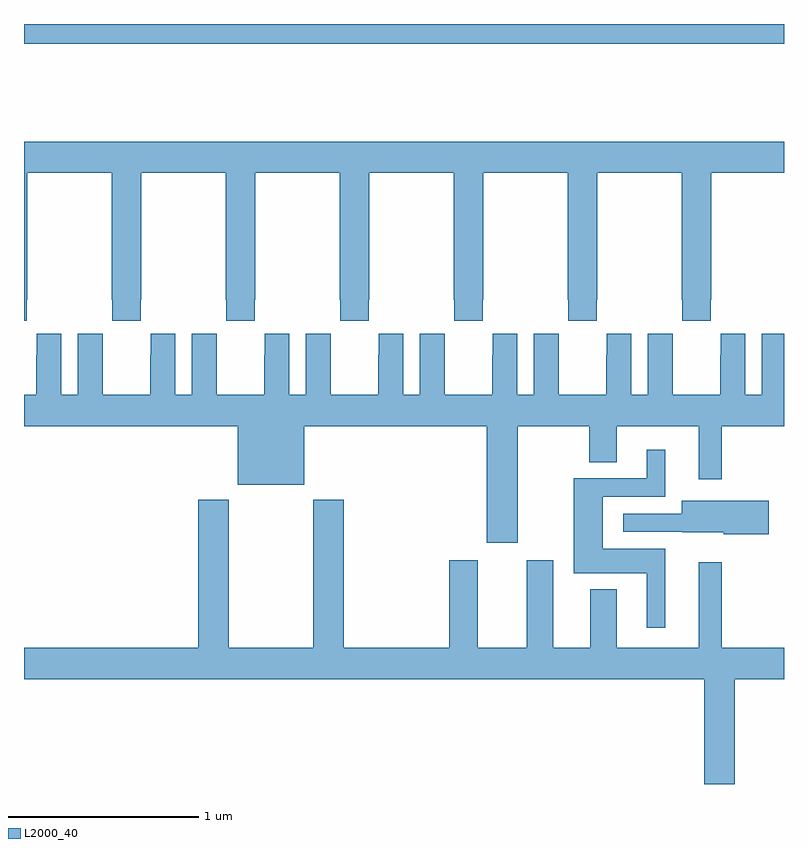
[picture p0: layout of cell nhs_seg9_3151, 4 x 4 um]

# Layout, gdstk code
import gdstk
lib = gdstk.Library(unit=1e-6, precision=1e-09)
def R(c, l, rs):  # rectangles x0, y0, x1, y1
    for r in rs: c.add(gdstk.rectangle(r[:2], r[2:], *l))
def P(c, l, *ps):  # polygons
    for p in ps: c.add(gdstk.Polygon(p, *l))
L2000_40 = (2000, 40)

nhs_seg9_3151 = lib.new_cell('nhs_seg9_3151')
R(nhs_seg9_3151, L2000_40, [(291,1234.396,295,1234.5)])
P(nhs_seg9_3151, L2000_40, [(291.015,1233.049),(291.018,1233.049),(291.018,1233.716),(291.463,1233.716),(291.463,1233.049),(291.465,1233.049),(291.465,1232.937),(291.615,1232.937),(291.615,1233.049),(291.618,1233.049),(291.618,1233.716),(292.063,1233.716),(292.063,1233.049),(292.065,1233.049),(292.065,1232.937),(292.215,1232.937),(292.215,1233.049),(292.218,1233.049),(292.218,1233.716),(292.663,1233.716),(292.663,1233.049),(292.665,1233.049),(292.665,1232.937),(292.815,1232.937),(292.815,1233.049),(292.818,1233.049),(292.818,1233.716),(293.263,1233.716),(293.263,1233.049),(293.265,1233.049),(293.265,1232.937),(293.415,1232.937),(293.415,1233.049),(293.418,1233.049),(293.418,1233.716),(293.863,1233.716),(293.863,1233.049),(293.865,1233.049),(293.865,1232.937),(294.015,1232.937),(294.015,1233.049),(294.018,1233.049),(294.018,1233.716),(294.463,1233.716),(294.463,1233.049),(294.465,1233.049),(294.465,1232.937),(294.615,1232.937),(294.615,1233.049),(294.618,1233.049),(294.618,1233.716),(295,1233.716),(295,1233.88),(291,1233.88),(291,1232.937),(291.015,1232.937)],
  [(292.124,1232.075),(292.474,1232.075),(292.474,1232.384),(293.435,1232.384),(293.435,1231.77),(293.599,1231.77),(293.599,1232.384),(293.974,1232.384),(293.974,1232.194),(294.121,1232.194),(294.121,1232.384),(294.551,1232.384),(294.551,1232.103),(294.673,1232.103),(294.673,1232.384),(295,1232.384),(295,1232.869),(294.884,1232.869),(294.884,1232.548),(294.796,1232.548),(294.796,1232.869),(294.666,1232.869),(294.666,1232.756),(294.665,1232.756),(294.665,1232.548),(294.415,1232.548),(294.415,1232.756),(294.414,1232.756),(294.414,1232.869),(294.284,1232.869),(294.284,1232.548),(294.196,1232.548),(294.196,1232.869),(294.066,1232.869),(294.066,1232.756),(294.065,1232.756),(294.065,1232.548),(293.815,1232.548),(293.815,1232.756),(293.814,1232.756),(293.814,1232.869),(293.684,1232.869),(293.684,1232.548),(293.596,1232.548),(293.596,1232.869),(293.466,1232.869),(293.466,1232.756),(293.465,1232.756),(293.465,1232.548),(293.215,1232.548),(293.215,1232.756),(293.214,1232.756),(293.214,1232.869),(293.084,1232.869),(293.084,1232.548),(292.996,1232.548),(292.996,1232.869),(292.866,1232.869),(292.866,1232.756),(292.865,1232.756),(292.865,1232.548),(292.615,1232.548),(292.615,1232.756),(292.614,1232.756),(292.614,1232.869),(292.484,1232.869),(292.484,1232.548),(292.396,1232.548),(292.396,1232.869),(292.266,1232.869),(292.266,1232.756),(292.265,1232.756),(292.265,1232.548),(292.015,1232.548),(292.015,1232.756),(292.014,1232.756),(292.014,1232.869),(291.884,1232.869),(291.884,1232.548),(291.796,1232.548),(291.796,1232.869),(291.666,1232.869),(291.666,1232.756),(291.665,1232.756),(291.665,1232.548),(291.415,1232.548),(291.415,1232.756),(291.414,1232.756),(291.414,1232.869),(291.284,1232.869),(291.284,1232.548),(291.196,1232.548),(291.196,1232.869),(291.066,1232.869),(291.066,1232.756),(291.065,1232.756),(291.065,1232.548),(291,1232.548),(291,1232.384),(292.124,1232.384)],
  [(294.376,1231.738),(294.046,1231.738),(294.046,1232.013),(294.376,1232.013),(294.376,1232.26),(294.278,1232.26),(294.278,1232.109),(293.893,1232.109),(293.893,1231.61),(294.278,1231.61),(294.278,1231.323),(294.376,1231.323)],
  [(294.741,1231.052),(295,1231.052),(295,1231.216),(294.673,1231.216),(294.673,1231.666),(294.551,1231.666),(294.551,1231.216),(294.121,1231.216),(294.121,1231.525),(293.981,1231.525),(293.981,1231.216),(293.785,1231.216),(293.785,1231.678),(293.645,1231.678),(293.645,1231.216),(293.389,1231.216),(293.389,1231.678),(293.237,1231.678),(293.237,1231.216),(292.682,1231.216),(292.682,1231.996),(292.522,1231.996),(292.522,1231.216),(292.077,1231.216),(292.077,1231.996),(291.917,1231.996),(291.917,1231.216),(291,1231.216),(291,1231.052),(294.581,1231.052),(294.581,1230.5),(294.741,1230.5)],
  [(294.919,1231.992),(294.461,1231.992),(294.461,1231.923),(294.153,1231.923),(294.153,1231.827),(294.465,1231.827),(294.465,1231.826),(294.684,1231.826),(294.684,1231.814),(294.919,1231.814)])

lib.write_gds('nhs_seg9_3151.gds')
